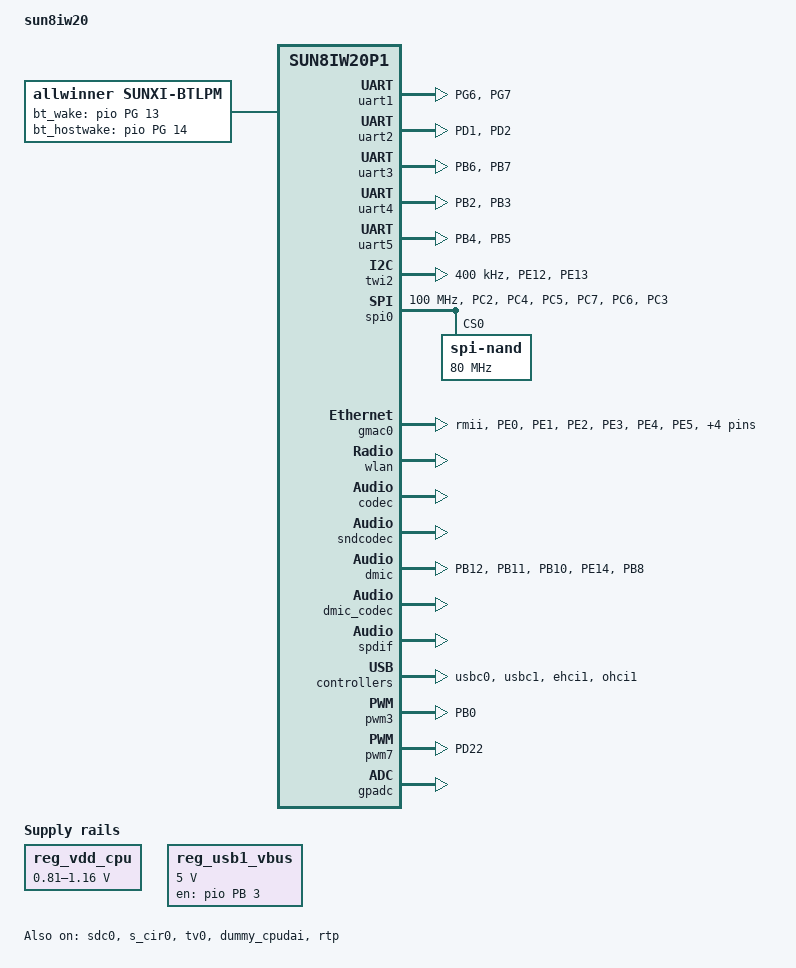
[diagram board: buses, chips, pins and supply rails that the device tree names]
/*
 * Allwinner Technology CO., Ltd.
 */

/dts-v1/;

 /* optee used 7MB: SHM 2M: OS: 1M: TA:4M*/
/memreserve/ 0x41900000 0x00100000;
/* DSP used 1MB */
/* /memreserve/ 0x42000000 0x00100000; */

#include "sun8iw20p1.dtsi"

/{
	model = "sun8iw20";
	compatible = "allwinner,r528", "arm,sun8iw20p1";

	reg_vdd_cpu: vdd-cpu {
		compatible = "sunxi-pwm-regulator";
		pwms = <&pwm 3 5000 0>;
		regulator-name = "vdd_cpu";
		regulator-min-microvolt = <810000>;
		regulator-max-microvolt = <1160000>;
		regulator-ramp-delay = <25>;
		regulator-always-on;
		regulator-boot-on;
		status = "okay";
	};

	reg_usb1_vbus: usb1-vbus {
		compatible = "regulator-fixed";
		regulator-name = "usb1-vbus";
		regulator-min-microvolt = <5000000>;
		regulator-max-microvolt = <5000000>;
		regulator-enable-ramp-delay = <1000>;
		gpio = <&pio PB 3 GPIO_ACTIVE_HIGH>;
		enable-active-high;
	};
};

&cpu0 {
	cpu-supply = <&reg_vdd_cpu>;
};

&pio {
	sdc0_pins_a: sdc0@0 {
		allwinner,pins = "PF0", "PF1", "PF2",
				 "PF3", "PF4", "PF5";
		allwinner,function = "sdc0";
		allwinner,muxsel = <2>;
		allwinner,drive = <3>;
		allwinner,pull = <1>;
		pins = "PF0", "PF1", "PF2",
		       "PF3", "PF4", "PF5";
		function = "sdc0";
		drive-strength = <30>;
		bias-pull-up;
		power-source = <3300>;
	};


	sdc0_pins_b: sdc0@1 {
		pins = "PF0", "PF1", "PF2",
		       "PF3", "PF4", "PF5";
		function = "sdc0";
		drive-strength = <30>;
		bias-pull-up;
		power-source = <1800>;
	};

	sdc0_pins_c: sdc0@2 {
		pins = "PF0", "PF1", "PF2",
			"PF3", "PF4", "PF5";
		function = "gpio_in";
	};

	/* TODO: add jtag pin */
	sdc0_pins_d: sdc0@3 {
		pins = "PF2", "PF4";
		function = "uart0";
		drive-strength = <10>;
		bias-pull-up;
	};

	sdc0_pins_e: sdc0@4 {
		pins = "PF0", "PF1", "PF3",
			"PF5";
		function = "jtag";
		drive-strength = <10>;
		bias-pull-up;
	};


	sdc1_pins_a: sdc1@0 {
		pins = "PG0", "PG1", "PG2",
		       "PG3", "PG4", "PG5";
		function = "sdc1";
		drive-strength = <30>;
		bias-pull-up;
	};

	sdc1_pins_b: sdc1@1 {
		pins = "PG0", "PG1", "PG2",
		       "PG3", "PG4", "PG5";
			function = "sdc1";
	};

	sdc2_pins_a: sdc2@0 {
		allwinner,pins = "PC2", "PC3", "PC4",
				 "PC5", "PC6", "PC7";
		allwinner,function = "sdc2";
		allwinner,muxsel = <3>;
		allwinner,drive = <3>;
		allwinner,pull = <1>;
		pins = "PC2", "PC3", "PC4",
			"PC5", "PC6", "PC7";
		function = "sdc2";
		drive-strength = <30>;
		bias-pull-up;
	};

	sdc2_pins_b: sdc2@1 {
		pins = "PC2", "PC3", "PC4",
		       "PC5", "PC6", "PC7";
		function = "gpio_in";
	};

	wlan_pins_a:wlan@0 {
		pins = "PG11";
		function = "clk_fanout1";
	};

	lvds0_pins_a: lvds0@0 {
		allwinner,pins  = "PD0", "PD1", "PD2", "PD3", "PD4", "PD5", "PD6", "PD7", "PD8", "PD9";
		allwinner,pname = "PD0", "PD1", "PD2", "PD3", "PD4", "PD5", "PD6", "PD7", "PD8", "PD9";
		allwinner,function = "lvds0";
		allwinner,muxsel = <3>;
		allwinner,drive = <3>;
		allwinner,pull = <0>;
	};

	lvds0_pins_b: lvds0@1 {
		allwinner,pins  = "PD0", "PD1", "PD2", "PD3", "PD4", "PD5", "PD6", "PD7", "PD8", "PD9";
		allwinner,pname = "PD0", "PD1", "PD2", "PD3", "PD4", "PD5", "PD6", "PD7", "PD8", "PD9";
		allwinner,function = "io_disabled";
		allwinner,muxsel = <7>;
		allwinner,drive = <3>;
		allwinner,pull = <0>;
	};

	uart0_pins_a: uart0_pins@0 {  /* For EVB1 board */
		pins = "PF2", "PF4";
		function = "uart0";
		drive-strength = <10>;
		bias-pull-up;
	};

	uart0_pins_b: uart0_pins@1 {  /* For EVB1 board */
		pins = "PF2", "PF4";
		function = "gpio_in";
	};
/*modify by wenyi for uart1*/
	uart1_pins_a: uart1_pins@0 {  /* For EVB1 board */
		pins = "PG6", "PG7";
		function = "uart1";
		drive-strength = <10>;
		bias-pull-up;
	};

	uart1_pins_b: uart1_pins {  /* For EVB1 board */
		pins = "PG6", "PG7";
		function = "gpio_in";
	};

        uart2_pins_a: uart2_pins@0 {  /* For EVB1 board */
                pins = "PD1", "PD2";
                function = "uart2";
                drive-strength = <10>;
                bias-pull-up;
        };

        uart2_pins_b: uart2_pins@1 {  /* For EVB1 board */
                pins = "PD1", "PD2";
                function = "gpio_in";
        };

	uart3_pins_a: uart3_pins@0 {  /* For t113_evb */
		//pins = "PG8", "PG9";
		pins = "PB6", "PB7";
		function = "uart3";
		drive-strength = <10>;
		bias-pull-up;
	};

	uart3_pins_b: uart3_pins@1 {  /* For t113_evb */
		pins = "PB6", "PB7";
		function = "gpio_in";
	};
/******add by wenyi for uart4 5 **********/
        uart4_pins_a: uart4_pins@0 {  /* For EVB1 board */
                pins = "PB2", "PB3";
                function = "uart4";
                drive-strength = <10>;
                bias-pull-up;
        };

        uart4_pins_b: uart4_pins@1 {  /* For EVB1 board */
                pins = "PB2", "PB3";
                function = "gpio_in";
        };


        uart5_pins_a: uart5_pins@0 {  /* For EVB1 board */
                pins = "PB4", "PB5";
                function = "uart5";
                drive-strength = <10>;
                bias-pull-up;
        };

        uart5_pins_b: uart5_pins@1 {  /* For EVB1 board */
                pins = "PB4", "PB5";
                function = "gpio_in";
        };
/******end add uart4 5 ************************/
	twi0_pins_a: twi0@0 {
		pins = "PB2", "PB3";
		function = "twi0";
		drive-strength = <10>;
	};

	twi0_pins_b: twi0@1 {
		pins = "PB2", "PB3";
		function = "gpio_in";
	};

	twi1_pins_a: twi1@0 {
		pins = "PE14", "PE15";
		function = "twi1";
		drive-strength = <10>;
	};

	twi1_pins_b: twi1@1 {
		pins = "PE14", "PE15";
		function = "gpio_in";
	};

	twi2_pins_a: twi2@0 {
		pins = "PE12", "PE13";
		function = "twi2";
		drive-strength = <10>;
	};

	twi2_pins_b: twi2@1 {
		pins = "PE12", "PE13";
		function = "gpio_in";
	};

	twi3_pins_a: twi3@0 {
		/* pins = "PE16", "PE17"; */
		/* pins = "PG10", "PG11"; */
		/*pins = "PB6", "PB7";*/
		function = "twi3";
		drive-strength = <10>;
	};

	twi3_pins_b: twi3@1 {
		/* pins = "PE16", "PE17"; */
		/* pins = "PG10", "PG11"; */
		/*pins = "PB6", "PB7";*/
		function = "gpio_in";
	};

	s_cir0_pins_a: s_cir0@0 {
		pins = "PB1";
		function = "ir";
		drive-strength = <10>;
		bias-pull-up;
	};

	s_cir0_pins_b: s_cir0@1 {
		pins = "PB1";
		function = "gpio_in";
	};

	ir1_pins_a: ir1@0 {
		pins = "PB0";
		function = "ir";
		drive-strength = <10>;
		bias-pull-up;
	};

	ir1_pins_b: ir1@1 {
		pins = "PB0";
		function = "gpio_in";
	};


	dmic_pins_a: dmic@0 {
		/* DMIC_PIN: CLK, DATA0, DATA1, DATA2, DATA3*/
		pins = "PB12", "PB11", "PB10", "PE14", "PB8";
		function = "dmic";
		drive-strength = <20>;
		bias-disable;
	};

	dmic_pins_b: dmic@1 {
		pins = "PB12", "PB11", "PB10", "PE14", "PB8";
		allwinner,function = "io_disabled";
		drive-strength = <20>;
		bias-disable;
	};

	daudio0_pins_a: daudio0@0 {
		pins = "PB29", "PB23", "PB24",
		       "PB25", "PB26", "PB27", "PB28",
		       "PB22";
		function = "i2s0";
		drive-strength = <20>;
		bias-disable;
	};

	daudio0_pins_b: daudio0_sleep@0 {
		pins = "PB29", "PB23", "PB24",
		       "PB25", "PB26", "PB27", "PB28",
		       "PB22";
		function = "io_disabled";
		drive-strength = <20>;
		bias-disable;
	};

	daudio1_pins_a: daudio1@0 {
		/* MCLK, LRCK, BCLK */
		pins = "PG12", "PG13";
		function = "i2s1";
		drive-strength = <20>;
		bias-disable;
	};

	daudio1_pins_b: daudio1@1 {
		/* DIN0 */
		pins = "PG14";
		function = "i2s1_din";
		drive-strength = <20>;
		bias-disable;
	};

	daudio1_pins_c: daudio1@2 {
		/* DOUT0 */
		pins = "PG15";
		function = "i2s1_dout";
		drive-strength = <20>;
		bias-disable;
	};

	daudio1_pins_d: daudio1_sleep@0 {
		pins = "PG12", "PG13", "PG14", "PG15";
		function = "io_disabled";
		drive-strength = <20>;
		bias-disable;
	};

	daudio2_pins_a: daudio2@0 {
		/* I2S_PIN: MCLK, BCLK, LRCK */
		pins = "PB7", "PB6", "PB5";
		function = "i2s2";
		drive-strength = <20>;
		bias-disable;
	};

	daudio2_pins_b: daudio2@1 {
		/* I2S_PIN: DIN0 */
		pins = "PB3";
		function = "i2s2_din";
		drive-strength = <20>;
		bias-disable;
	};

	daudio2_pins_c: daudio2@2 {
		/* I2S_PIN: DOUT0 */
		pins = "PB4";
		function = "i2s2_dout";
		drive-strength = <20>;
		bias-disable;
	};

	daudio2_pins_d: daudio2_sleep@0 {
		pins = "PB7", "PB6", "PB5", "PB4", "PB3";
		function = "io_disabled";
		drive-strength = <20>;
		bias-disable;
	};

	spdif_pins_a: spdif@0 {
		/* SPDIF_PIN: SPDIF_OUT */
		pins = "PG18";
		function = "spdif";
		drive-strength = <20>;
		bias-disable;
	};

	spdif_pins_b: spdif_sleep@0 {
		pins = "PG18";
		function = "io_disabled";
		drive-strength = <20>;
		bias-disable;
	};
	gmac0_pins_a: gmac@0 {
		allwinner,pins = "PE0", "PE1", "PE2", "PE3", "PE4",
				 "PE5", "PE6", "PE7","PE8", "PE9";
		allwinner,function = "gmac0";
		allwinner,muxsel = <8>;
		allwinner,drive = <1>;
		allwinner,pull = <0>;
	};

	gmac0_pins_b: gmac@1 {
		allwinner,pins = "PE0", "PE1", "PE2", "PE3", "PE4",
				 "PE5", "PE6", "PE7","PE8", "PE9";
		allwinner,function = "gpio_in";
		allwinner,muxsel = <0>;
		allwinner,drive = <1>;
		allwinner,pull = <0>;
	};

	spi0_pins_a: spi0@0 {
		pins = "PC2", "PC4", "PC5","PC7", "PC6"; /*clk mosi miso hold wp*/
		function = "spi0";
		drive-strength = <10>;
	};

	spi0_pins_b: spi0@1 {
		pins = "PC3";
		function = "spi0";
		drive-strength = <10>;
		bias-pull-up;   /* only CS should be pulled up */
	};

	spi0_pins_c: spi0@2 {
		pins = "PC2", "PC3", "PC4", "PC5","PC6", "PC7";
		function = "gpio_in";
		drive-strength = <10>;
	};

	spi1_pins_a: spi1@0 {
		pins = "PB11", "PB10", "PB9","PB8", "PB0"; /*clk mosi miso hold wp*/
		function = "spi1";
		drive-strength = <10>;
	};

	spi1_pins_b: spi1@1 {
		pins = "PB12";
		function = "spi1";
		drive-strength = <10>;
		bias-pull-up;   // only CS should be pulled up
	};

	spi1_pins_c: spi1@2 {
		allwinner,pins = "PB0", "PB8", "PB9", "PB10","PB11", "PB12";
		allwinner,function = "gpio_in";
		allwinner,muxsel = <0>;
		drive-strength = <10>;
	};

	pwm3_pin_a: pwm3@0 {
		pins = "PB0";
		function = "pwm3";
		drive-strength = <10>;
		bias-pull-up;
	};

	pwm3_pin_b: pwm3@1 {
		pins = "PB0";
		function = "gpio_in";
	};

	pwm7_pin_a: pwm7@0 {
		pins = "PD22";
		function = "pwm7";
		drive-strength = <10>;
		bias-pull-up;
	};

	pwm7_pin_b: pwm7@1 {
		pins = "PD22";
		function = "gpio_in";
	};

	ledc_pins_a: ledc@0 {
		pins = "PF2";
		function = "ledc";
		drive-strength = <10>;
	};

	ledc_pins_b: ledc@1 {
		pins = "PF2";
		function = "gpio_in";
	};
	rgb24_pins_a: rgb24@0 {
		allwinner,pins = "PB2", "PB3", "PD0", "PD1", "PD2", "PD3", "PD4", "PD5", \
			"PB4", "PB5", "PD6", "PD7", "PD8", "PD9", "PD10", "PD11", \
			"PB6", "PB7", "PD12", "PD13", "PD14", "PD15", "PD16", "PD17", \
			"PD18", "PD19", "PD20", "PD21";
		allwinner,pname = "lcdd0", "lcdd1", "lcdd2", "lcdd3", "lcdd4", "lcdd5", "lcdd6", "lcdd7", \
			"lcdd8", "lcdd9", "lcdd10", "lcdd11", "lcdd12", "lcdd13", "lcdd14", "lcdd15", \
			"lcdd16", "lcdd17", "lcdd18", "lcdd19", "lcdd20", "lcdd21", "lcdd22", "lcdd23", \
			"lcdclk", "lcdde", "lcdhsync", "lcdvsync";
		allwinner,function = "lcd0";
		allwinner,muxsel = <2>;
		allwinner,drive = <3>;
		allwinner,pull = <0>;
	};
	rgb24_pins_b: rgb24@1 {
		allwinner,pins = "PB2", "PB3", "PD0", "PD1", "PD2", "PD3", "PD4", "PD5", \
			"PB4", "PB5", "PD6", "PD7", "PD8", "PD9", "PD10", "PD11", \
			"PB6", "PB7", "PD12", "PD13", "PD14", "PD15", "PD16", "PD17", \
			"PD18", "PD19", "PD20", "PD21";
		allwinner,pname = "lcdd0", "lcdd1", "lcdd2", "lcdd3", "lcdd4", "lcdd5", "lcdd6", "lcdd7", \
			"lcdd8", "lcdd9", "lcdd10", "lcdd11", "lcdd12", "lcdd13", "lcdd14", "lcdd15", \
			"lcdd16", "lcdd17", "lcdd18", "lcdd19", "lcdd20", "lcdd21", "lcdd22", "lcdd23", \
			"lcdclk", "lcdde", "lcdhsync", "lcdvsync";
		allwinner,function = "io_disabled";
		allwinner,muxsel = <7>;
		allwinner,drive = <3>;
		allwinner,pull = <0>;
	};
	dsi4lane_pins_a: dsi4lane@0 {
        allwinner,pins = "PD0", "PD1", "PD2", "PD3", "PD4", "PD5", "PD6", "PD7", "PD8", "PD9";
        allwinner,pname = "PD0", "PD1", "PD2", "PD3", "PD4", "PD5", "PD6", "PD7", "PD8", "PD9";
        allwinner,function = "dsi4lane";
        allwinner,muxsel = <4>;
        allwinner,drive = <3>;
        allwinner,pull = <0>;
	};

	dsi4lane_pins_b: dsi4lane@1 {
        allwinner,pins = "PD0", "PD1", "PD2", "PD3", "PD4", "PD5", "PD6", "PD7", "PD8", "PD9";
        allwinner,pname = "PD0", "PD1", "PD2", "PD3", "PD4", "PD5", "PD6", "PD7", "PD8", "PD9";
        allwinner,function = "dsi4lane_suspend";
        allwinner,muxsel = <7>;
        allwinner,drive = <1>;
        allwinner,pull = <0>;
	};
};

&uart0 {
	pinctrl-names = "default", "sleep";
	pinctrl-0 = <&uart0_pins_a>;
	pinctrl-1 = <&uart0_pins_b>;
	status = "disabled";
};

&uart1 {
	pinctrl-names = "default", "sleep";
	pinctrl-0 = <&uart1_pins_a>;
	pinctrl-1 = <&uart1_pins_b>;
	status = "okay";	/* modify by wenyi 0820 */
};

&uart2 {
        pinctrl-names = "default", "sleep";
        pinctrl-0 = <&uart2_pins_a>;
        pinctrl-1 = <&uart2_pins_b>;
        status = "okay";
};

&uart3 {
	pinctrl-names = "default", "sleep";
	pinctrl-0 = <&uart3_pins_a>;
	pinctrl-1 = <&uart3_pins_b>;
	status = "okay";
};

&uart4 {
        pinctrl-names = "default", "sleep";
        pinctrl-0 = <&uart4_pins_a>;
        pinctrl-1 = <&uart4_pins_b>;
        status = "okay";
};

&uart5 {
        pinctrl-names = "default", "sleep";
        pinctrl-0 = <&uart5_pins_a>;
        pinctrl-1 = <&uart5_pins_b>;
        status = "okay";
};
&sdc2 {
	non-removable;
	bus-width = <4>;
	mmc-ddr-1_8v;
	mmc-hs200-1_8v;
	no-sdio;
	no-sd;
	ctl-spec-caps = <0x308>;
	cap-mmc-highspeed;
	sunxi-power-save-mode;
	sunxi-dis-signal-vol-sw;
	mmc-bootpart-noacc;
	max-frequency = <150000000>;
	/*vmmc-supply = <&reg_dcdc1>;*/
	/*emmc io vol 3.3v*/
	/*vqmmc-supply = <&reg_aldo1>;*/
	/*emmc io vol 1.8v*/
	/*vqmmc-supply = <&reg_eldo1>;*/
	status = "disabled";
};

&sdc0 {
	bus-width = <4>;
	cd-gpios = <&pio PF 6 (GPIO_ACTIVE_LOW | GPIO_PULL_UP)>;
	/*non-removable;*/
	/*broken-cd;*/
	/*cd-inverted*/
	/*data3-detect;*/
	/*card-pwr-gpios = <&pio PH 14 1 1 2 0xffffffff>;*/
	cd-used-24M;
	cap-sd-highspeed;
	/*sd-uhs-sdr50;*/
	/*sd-uhs-ddr50;*/
	/*sd-uhs-sdr104;*/
	no-sdio;
	no-mmc;
	sunxi-power-save-mode;
	/*sunxi-dis-signal-vol-sw;*/
	max-frequency = <150000000>;
	ctl-spec-caps = <0x8>;
	/*vmmc-supply = <&reg_dcdc1>;*/
	/*vqmmc33sw-supply = <&reg_dcdc1>;*/
	/*vdmmc33sw-supply = <&reg_dcdc1>;*/
	/*vqmmc18sw-supply = <&reg_eldo1>;*/
	/*vdmmc18sw-supply = <&reg_eldo1>;*/
	status = "okay";
};

&sdc1 {
	bus-width = <4>;
	no-mmc;
	no-sd;
	cap-sd-highspeed;
	/*sd-uhs-sdr12*/
	/*sd-uhs-sdr25;*/
	/*sd-uhs-sdr50;*/
	/*sd-uhs-ddr50;*/
	/*sd-uhs-sdr104;*/
	/*sunxi-power-save-mode;*/
	/*sunxi-dis-signal-vol-sw;*/
	cap-sdio-irq;
	keep-power-in-suspend;
	ignore-pm-notify;
	max-frequency = <150000000>;
	ctl-spec-caps = <0x8>;
	status = "disabled";	//modify by wenyi 0828 
};


&twi0 {
	clock-frequency = <400000>;
	pinctrl-0 = <&twi0_pins_a>;
	pinctrl-1 = <&twi0_pins_b>;
	pinctrl-names = "default", "sleep";
	twi_drv_used = <0>;
	dmas = <&dma 43>, <&dma 43>;
	dma-names = "tx", "rx";
	status = "disabled";
        ctp@14 {
                compatible = "allwinner,goodix";
                device_type = "ctp";
                reg = <0x14>;
                status = "disabled";
                ctp_name = "gt9xxnew_ts";
                ctp_twi_id = <0x2>;
                ctp_twi_addr = <0x14>;
                ctp_screen_max_x = <0x320>;
                ctp_screen_max_y = <0x1e0>;
                ctp_revert_x_flag = <0x0>;
                ctp_revert_y_flag = <0x0>;
                ctp_exchange_x_y_flag = <0x0>;
                ctp_int_port = <&pio PB 6 GPIO_ACTIVE_HIGH>;
                ctp_wakeup = <&pio PB 7 GPIO_ACTIVE_HIGH>;
                /*ctp-supply = <&reg_aldo2>;*/
                /*ctp_power_ldo = <&reg_aldo2>;*/
                /*ctp_power_ldo_vol = <3300>;*/
        };
};

&twi1 {
	clock-frequency = <400000>;
	pinctrl-0 = <&twi1_pins_a>;
	pinctrl-1 = <&twi1_pins_b>;
	pinctrl-names = "default", "sleep";
	status = "disabled";
};

&twi2 {
	clock-frequency = <400000>;
	pinctrl-0 = <&twi2_pins_a>;
	pinctrl-1 = <&twi2_pins_b>;
	pinctrl-names = "default", "sleep";
	/*twi_drv_used = <1>;*/
	/*dmas = <&dma 45>, <&dma 45>;*/
	/*dma-names = "tx", "rx";*/
	status = "okay";
};

&twi3 {
	clock-frequency = <400000>;
	pinctrl-0 = <&twi3_pins_a>;
	pinctrl-1 = <&twi3_pins_b>;
	pinctrl-names = "default", "sleep";
	status = "disabled";
#if 0
	ac108: ac108@3B {
		#sound-dai-cells = <0>;
		compatible = "Allwinner,MicArray_0";
		device_type = "MicArray_0";
		reg = <0x3B>;
		regulator_used = <0x0>;
		power_voltage = <3300000>;
		regulator_name = "vcc-3v3";
		power_gpio_used = <0x0>;
		reset_gpio_used = <0x0>;
		twi_bus = <0x1>;
		pga_gain = <0x1F>;
		slot_width = <0x20>;
		lrck_period = <0x80>;
		ref_pga_used = <0x1>;
		ref_pga_gain = <0x10>;
		ref_channel = <0x3>;
		debug_mode = <0x0>;
		status = "disabled";
	};
#endif
};

&spi0 {
        clock-frequency = <100000000>;
        pinctrl-0 = <&spi0_pins_a &spi0_pins_b>;
        pinctrl-1 = <&spi0_pins_c>;
        pinctrl-names = "default", "sleep";
        /*spi-supply = <&reg_dcdc1>;*/
        spi_slave_mode = <0>;
        spi0_cs_number = <1>;
        spi0_cs_bitmap = <1>;
        status = "okay";

        spi-nand@0 {
                compatible = "spi-nand";
                spi-max-frequency=<80000000>;
                reg = <0x0>;
                spi-rx-bus-width=<0x04>;
                spi-tx-bus-width=<0x04>;
                status="okay";
        };
};
&spi1 {
	clock-frequency = <100000000>;
	pinctrl-0 = <&spi1_pins_a &spi1_pins_b>;
	pinctrl-1 = <&spi1_pins_c>;
	pinctrl-names = "default", "sleep";
	spi_slave_mode = <0>;
	spi1_cs_number = <1>;
        spi1_cs_bitmap = <1>;
	status = "disabled";

	spi_board1@0 {
		device_type = "spi_board1";
		compatible = "rohm,dh2228fv";
		spi-max-frequency = <0x5f5e100>;
		reg = <0x0>;
		spi-rx-bus-width = <0x4>;
		spi-tx-bus-width = <0x4>;
		status = "disabled";
	};
};

&ledc {
	pinctrl-0 = <&ledc_pins_a>;
	pinctrl-1 = <&ledc_pins_b>;
	led_count = <32>;
	output_mode = "GRB";
	reset_ns = <84>;
	t1h_ns = <800>;
	t1l_ns = <450>;
	t0h_ns = <400>;
	t0l_ns = <850>;
	wait_time0_ns = <84>;
	wait_time1_ns = <84>;
	wait_data_time_ns = <600000>;
	status	= "disabled";
};

&s_cir0 {
	pinctrl-names = "default";
	pinctrl-0 = <&s_cir0_pins_a>;
	status = "okay";
};

&ir1 {
	pinctrl-names = "default";
	pinctrl-0 = <&ir1_pins_a>;
	status = "disabled";
};

&gmac0 {
	pinctrl-0 = <&gmac0_pins_a>;
	pinctrl-1 = <&gmac0_pins_b>;
	pinctrl-names = "default", "sleep";
	phy-mode = "rmii";
	use_ephy25m = <0>;
	tx-delay = <3>;
	rx-delay = <0>;
	phy-rst = <&pio PE 10 GPIO_ACTIVE_HIGH>;
	status = "okay";
};

&soc {
	platform@45000004 {
		reg = <0x0 0x45000004 0x0 0x0>;
		eraseflag   = <1>;
		next_work   = <3>;
		debug_mode  = <8>;
	};

	target@45000008 {
		reg = <0x0 0x45000008 0x0 0x0>;
		boot_clock = <1008>;	/*CPU boot frequency, Unit: MHz*/
		storage_type = <0xffffffff>; /*boot medium, 0-nand, 1-card0, 2-card2, -1(defualt)auto scan*/
		burn_key = <0>;		/*1:support burn key; 0:not support burn key*/
		dragonboard_test = <0>;	/*1:support card boot dragonboard; 0:not support card boot dragonboard*/
	};

	card0_boot_para@2 {
		/*
		 * Avoid dtc compiling warnings.
		 * @TODO: Developer should modify this to the actual value
		 */
		reg = <0x0 0x2 0x0 0x0>;
		device_type = "card0_boot_para";
		card_ctrl = <0x0>;
		card_high_speed = <0x1>;
		card_line = <0x4>;
		pinctrl-0 = <&sdc0_pins_a>;
	};

	card2_boot_para@3 {
		/*
		 * Avoid dtc compiling warnings.
		 * @TODO: Developer should modify this to the actual value
		 */
		reg = <0x0 0x3 0x0 0x0>;
		device_type = "card2_boot_para";
		card_ctrl = <0x2>;
		card_high_speed = <0x1>;
		card_line = <0x4>;
		pinctrl-0 = <&sdc2_pins_a>;
		/*pinctrl-0 = <&sdc0_pins_a>;*/
		/*sdc_ex_dly_used = <0x2>;*/
		sdc_io_1v8 = <0x1>;
		/*sdc_type = "tm4";*/
		sdc_tm4_hs200_max_freq = <150>;
		sdc_tm4_hs400_max_freq = <100>;
		sdc_ex_dly_used = <2>;
		/*sdc_tm4_win_th = <8>;*/
		/*sdc_dis_host_caps = <0x180>;*/
	};

	rfkill: rfkill@0 {
		compatible    = "allwinner,sunxi-rfkill";
		chip_en;
		power_en;
		pinctrl-0 = <&wlan_pins_a>;
		pinctrl-names = "default";
		status        = "okay";

		wlan: wlan@0 {
			compatible    = "allwinner,sunxi-wlan";
			clock-names = "32k-fanout1";
			clocks = <&ccu CLK_FANOUT1_OUT>;
			wlan_busnum    = <0x1>;
			wlan_regon    = <&pio PG 12 GPIO_ACTIVE_HIGH>;
			wlan_hostwake  = <&pio PG 10 GPIO_ACTIVE_HIGH>;
			/*wlan_power    = "VCC-3V3";*/
			/*wlan_power_vol = <3300000>;*/
			/*interrupt-parent = <&pio>;
			interrupts = < PG 10 IRQ_TYPE_LEVEL_HIGH>;*/
			wakeup-source;

		};

		bt: bt@0 {
			compatible    = "allwinner,sunxi-bt";
			pinctrl-0 = <&wlan_pins_a>;
			pinctrl-names = "default";
			clock-names = "32k-fanout1";
			clocks = <&ccu CLK_FANOUT1_OUT>;
			/*bt_power_num = <0x01>;*/
			/*bt_power      = "axp803-dldo1";*/
			/*bt_io_regulator = "axp803-dldo1";*/
			/*bt_io_vol = <3300000>;*/
			/*bt_power_vol = <330000>;*/
			bt_rst_n      = <&pio PG 15 GPIO_ACTIVE_LOW>;
			status        = "okay";
		};
	};

	btlpm: btlpm@0 {
		compatible  = "allwinner,sunxi-btlpm";
		uart_index  = <0x1>;
		bt_wake     = <&pio PG 13 GPIO_ACTIVE_HIGH>;
		bt_hostwake = <&pio PG 14 GPIO_ACTIVE_HIGH>;
		status      = "okay";
	};
};

&vind0 {
	csi_top = <378000000>;
	csi_isp = <327000000>;
	status = "disabled"; /* enable twi and ver1 spi-nand max freq 30M */

	actuator0: actuator@5809450 {
		device_type = "actuator0";
		actuator0_name = "ad5820_act";
		actuator0_slave = <0x18>;
		actuator0_af_pwdn = <>;
		actuator0_afvdd = "afvcc-csi";
		actuator0_afvdd_vol = <2800000>;
		status = "disabled";
	};
	flash0: flash@5809460 {
		device_type = "flash0";
		flash0_type = <2>;
		flash0_en = <>;
		flash0_mode = <>;
		flash0_flvdd = "";
		flash0_flvdd_vol = <>;
		device_id = <0>;
		status = "disabled";
	};
	sensor0: sensor@5809470 {
		reg = <0x0 0x05809470 0x0 0x10>;
		device_type = "sensor0";
		compatible = "allwinner,sunxi-sensor";
		sensor0_mname = "ov5640";
		sensor0_twi_cci_id = <2>;
		sensor0_twi_addr = <0x78>;
		sensor0_mclk_id = <0>;
		sensor0_pos = "rear";
		sensor0_isp_used = <0>;
		sensor0_fmt = <0>;
		sensor0_stby_mode = <0>;
		sensor0_vflip = <0>;
		sensor0_hflip = <0>;
		sensor0_iovdd-supply = <>;
		sensor0_iovdd_vol = <>;
		sensor0_avdd-supply = <>;
		sensor0_avdd_vol = <>;
		sensor0_dvdd-supply = <>;
		sensor0_dvdd_vol = <>;
		sensor0_power_en = <>;
		sensor0_reset = <&pio PE 9 GPIO_ACTIVE_LOW>;
		sensor0_pwdn = <&pio PE 8 GPIO_ACTIVE_LOW>;
		sensor0_sm_vs = <>;
		flash_handle = <&flash0>;
		act_handle = <&actuator0>;
		device_id = <0>;
		status  = "disabled";
	};
	sensor1:sensor@5809480 {
		device_type = "sensor1";
		sensor1_mname = "ov5647";
		sensor1_twi_cci_id = <3>;
		sensor1_twi_addr = <0x6c>;
		sensor1_mclk_id = <1>;
		sensor1_pos = "front";
		sensor1_isp_used = <0>;
		sensor1_fmt = <0>;
		sensor1_stby_mode = <0>;
		sensor1_vflip = <0>;
		sensor1_hflip = <0>;
		sensor1_iovdd-supply = <>;
		sensor1_iovdd_vol = <>;
		sensor1_avdd-supply = <>;
		sensor1_avdd_vol = <>;
		sensor1_dvdd-supply = <>;
		sensor1_dvdd_vol = <>;
		sensor1_power_en = <>;
		sensor1_reset = <&pio PE 7 GPIO_ACTIVE_LOW>;
		sensor1_pwdn = <&pio PE 6 GPIO_ACTIVE_LOW>;
		status	= "disabled";
	};
	vinc0:vinc@5809000 {
		vinc0_csi_sel = <0>;
		vinc0_mipi_sel = <0xff>;
		vinc0_isp_sel = <0>;
		vinc0_isp_tx_ch = <0>;
		vinc0_tdm_rx_sel = <0xff>;
		vinc0_rear_sensor_sel = <0>;
		vinc0_front_sensor_sel = <0>;
		vinc0_sensor_list = <0>;
		status = "disabled";
	};
	vinc1:vinc@5809200 {
		vinc1_csi_sel = <0>;
		vinc1_mipi_sel = <0xff>;
		vinc1_isp_sel = <0>;
		vinc1_isp_tx_ch = <1>;
		vinc1_tdm_rx_sel = <0xff>;
		vinc1_rear_sensor_sel = <0>;
		vinc1_front_sensor_sel = <0>;
		vinc1_sensor_list = <0>;
		status = "disabled";
	};
};

/*----------------------------------------------------------------------------------
disp init configuration

disp_mode             (0:screen0<screen0,fb0>)
screenx_output_type   (0:none; 1:lcd; 2:tv; 3:hdmi;5:vdpo)
screenx_output_mode   (used for hdmi output, 0:480i 1:576i 2:480p 3:576p 4:720p50)
                      (5:720p60 6:1080i50 7:1080i60 8:1080p24 9:1080p50 10:1080p60)
screenx_output_format (for hdmi, 0:RGB 1:yuv444 2:yuv422 3:yuv420)
screenx_output_bits   (for hdmi, 0:8bit 1:10bit 2:12bit 2:16bit)
screenx_output_eotf   (for hdmi, 0:reserve 4:SDR 16:HDR10 18:HLG)
screenx_output_cs     (for hdmi, 0:undefined  257:BT709 260:BT601  263:BT2020)
screenx_output_dvi_hdmi (for hdmi, 0:undefined 1:dvi mode 2:hdmi mode)
screen0_output_range   (for hdmi, 0:default 1:full 2:limited)
screen0_output_scan    (for hdmi, 0:no data 1:overscan 2:underscan)
screen0_output_aspect_ratio  (for hdmi, 8-same as original picture 9-4:3 10-16:9 11-14:9)
fbx format            (4:RGB655 5:RGB565 6:RGB556 7:ARGB1555 8:RGBA5551 9:RGB888 10:ARGB8888 12:ARGB4444)
fbx pixel sequence    (0:ARGB 1:BGRA 2:ABGR 3:RGBA)
fb0_scaler_mode_enable(scaler mode enable, used FE)
fbx_width,fbx_height  (framebuffer horizontal/vertical pixels, fix to output resolution while equal 0)
lcdx_backlight        (lcd init backlight,the range:[0,256],default:197
lcdx_yy               (lcd init screen bright/contrast/saturation/hue, value:0~100, default:50/50/57/50)
lcd0_contrast         (LCD contrast, 0~100)
lcd0_saturation       (LCD saturation, 0~100)
lcd0_hue              (LCD hue, 0~100)
framebuffer software rotation setting:
disp_rotation_used:   (0:disable; 1:enable,you must set fbX_width to lcd_y,
set fbX_height to lcd_x)
degreeX:              (X:screen index; 0:0 degree; 1:90 degree; 3:270 degree)
degreeX_Y:            (X:screen index; Y:layer index 0~15; 0:0 degree; 1:90 degree; 3:270 degree)
devX_output_type : config output type in bootGUI framework in UBOOT-2018.
				   (0:none; 1:lcd; 2:tv; 4:hdmi;)
devX_output_mode : config output resolution(see include/video/sunxi_display2.h) of bootGUI framework in UBOOT-2018
devX_screen_id   : config display index of bootGUI framework in UBOOT-2018
devX_do_hpd      : whether do hpd detectation or not in UBOOT-2018
chn_cfg_mode     : Hardware DE channel allocation config. 0:single display with 6
				   channel, 1:dual display with 4 channel in main display and 2 channel in second
                   display, 2:dual display with 3 channel in main display and 3 channel in second
                   in display.
----------------------------------------------------------------------------------*/
&disp {
	disp_init_enable         = <1>;
	disp_mode                = <0>;

	screen0_output_type      = <1>;
	screen0_output_mode      = <4>;

	screen1_output_type      = <3>;
	screen1_output_mode      = <10>;

	screen1_output_format    = <0>;
	screen1_output_bits      = <0>;
	screen1_output_eotf      = <4>;
	screen1_output_cs        = <257>;
	screen1_output_dvi_hdmi  = <2>;
	screen1_output_range     = <2>;
	screen1_output_scan      = <0>;
	screen1_output_aspect_ratio = <8>;

	dev0_output_type         = <1>;
	dev0_output_mode         = <4>;
	dev0_screen_id           = <0>;
	dev0_do_hpd              = <0>;

	dev1_output_type         = <4>;
	dev1_output_mode         = <10>;
	dev1_screen_id           = <1>;
	dev1_do_hpd              = <1>;

	def_output_dev           = <0>;
	hdmi_mode_check          = <1>;

	fb0_format               = <0>;
	fb0_width                = <0>;
	fb0_height               = <0>;

	fb1_format               = <0>;
	fb1_width                = <0>;
	fb1_height               = <0>;
	chn_cfg_mode             = <1>;

	disp_para_zone           = <1>;
	/*VCC-LCD*/
/*	dc1sw-supply = <&reg_dc1sw>;*/
	/*VCC-DSI*/
/*	eldo3-supply = <&reg_eldo3>;*/
	/*VCC-PD*/
/*	dcdc1-supply = <&reg_dcdc1>;*/
};


#if 0
&disp {
	disp_init_enable         = <1>;
	disp_mode                = <0>;

	screen0_output_type      = <1>;
	screen0_output_mode      = <4>;

	screen1_output_type      = <1>;
	screen1_output_mode      = <4>;

	screen1_output_format    = <0>;
	screen1_output_bits      = <0>;
	screen1_output_eotf      = <4>;
	screen1_output_cs        = <257>;
	screen1_output_dvi_hdmi  = <2>;
	screen1_output_range     = <2>;
	screen1_output_scan      = <0>;
	screen1_output_aspect_ratio = <8>;

	dev0_output_type         = <1>;
	dev0_output_mode         = <4>;
	dev0_screen_id           = <0>;
	dev0_do_hpd              = <0>;

	dev1_output_type         = <4>;
	dev1_output_mode         = <10>;
	dev1_screen_id           = <1>;
	dev1_do_hpd              = <1>;

	def_output_dev           = <0>;
	hdmi_mode_check          = <1>;

	fb0_format               = <0>;
	fb0_width                = <1024>;
	fb0_height               = <600>;

	fb1_format               = <0>;
	fb1_width                = <0>;
	fb1_height               = <0>;
	chn_cfg_mode             = <1>;

	disp_para_zone           = <1>;
	/*VCC-LCD*/
	/*dc1sw-supply = <&reg_dc1sw>;*/
	/*VCC-DSI*/
/*	eldo3-supply = <&reg_eldo3>;*/
	/*VCC-PD*/
/*	dcdc1-supply = <&reg_dcdc1>;*/
};
#endif

/*----------------------------------------------------------------------------------
;tv configuration
;interface          (interface type,1<->cvbs,2<->YPBPR,4<->SVIDEO)
;dac_type           (0<->composite,1<->luma,2<->chroma,3<->reserved,4<->y/green,
;                    5<->u/pb/blue,6<->v/pr/red)
;dac_src            (dac no,support dac_src0~dac_src3,dac num max is 4)
;NOTE:              tv0,tv1 can not use the same dac_src.
;---------------------------------------------------------------------------------*/
&tv0 {
	interface       = <1>;
	dac_type0       = <0>;
	dac_src0        = <0>;

	status =  "okay";
};

/*----------------------------------------------------------------------------------
;lcd0 configuration

;lcd_if:               0:hv(sync+de); 1:8080; 2:ttl; 3:lvds; 4:dsi; 5:edp; 6:extend dsi
;lcd_hv_if             0:Parallel RGB; 8:Serial RGB; 10:Dummy RGB; 11: RGB Dummy;12:CCIR656
;lcd_hv_clk_phase      0:0 degree;1:90 degree;2:180 degree;3:270 degree
;lcd_hv_sync_polarity  0:vs low,hs low; 1:vs high,hslow; 2:vs low,hs high; 3:vs high,hs high
;lcd_hv_syuv_seq       0:YUYV; 1:YVYU; 2:UYVY; 3:VYUY
;lcd_cpu_if            0:18bit/1 cycle parallel(RGB666); 4:16bit/1cycle parallel (RGB565)
;                      6:18bit/3 cycle parallel(RGB666); 7:16bit/2cycle parallel (RGB565)
;lcd_cpu_te            0:frame auto trigger; 1:frame triggered by te rising edge; 2:frame triggered by te falling edge;
;lcd_dsi_if            0:video mode; 1: Command mode; 2:video burst mode
;lcd_dsi_te            0:frame auto trigger; 1:frame triggered by te rising edge; 2:frame triggered by te falling edge;
;lcd_x:                lcd horizontal resolution
;lcd_y:                lcd vertical resolution
;lcd_width:            width of lcd in mm
;lcd_height:           height of lcd in mm
;lcd_dclk_freq:        in MHZ unit
;lcd_pwm_freq:         in HZ unit
;lcd_pwm_pol:          lcd backlight PWM polarity
;lcd_pwm_max_limit     lcd backlight PWM max limit(<=255)
;lcd_hbp:              hsync back porch(pixel) + hsync plus width(pixel);
;lcd_ht:               hsync total cycle(pixel)
;lcd_vbp:              vsync back porch(line) + vysnc plus width(line)
;lcd_vt:               vysnc total cycle(line)
;lcd_hspw:             hsync plus width(pixel)
;lcd_vspw:             vysnc plus width(pixel)
;lcd_lvds_if:          0:single link;  1:dual link
;lcd_lvds_colordepth:  0:8bit; 1:6bit
;lcd_lvds_mode:        0:NS mode; 1:JEIDA mode
;lcd_frm:              0:disable; 1:enable rgb666 dither; 2:enable rgb656 dither
;lcd_io_phase:         0:noraml; 1:intert phase(0~3bit: vsync phase; 4~7bit:hsync phase;
;                      8~11bit:dclk phase; 12~15bit:de phase)
;lcd_gamma_en          lcd gamma correction enable
;lcd_bright_curve_en   lcd bright curve correction enable
;lcd_cmap_en           lcd color map function enable
;deu_mode              0:smoll lcd screen; 1:large lcd screen(larger than 10inch)
;lcdgamma4iep:         Smart Backlight parameter, lcd gamma vale * 10;
;                      decrease it while lcd is not bright enough; increase while lcd is too bright
;smart_color           90:normal lcd screen 65:retina lcd screen(9.7inch)
;Pin setting for special function ie.LVDS, RGB data or vsync
;   name(donot care) = port:PD12<pin function><pull up or pull down><drive ability><output level>
;Pin setting for gpio:
;   lcd_gpio_X     = port:PD12<pin function><pull up or pull down><drive ability><output level>
;Pin setting for backlight enable pin
;   lcd_bl_en     = port:PD12<pin function><pull up or pull down><drive ability><output level>
;fsync setting, pulse to csi
;lcd_fsync_en          (0:disable fsync,1:enable)
;lcd_fsync_act_time    (active time of fsync, unit:pixel)
;lcd_fsync_dis_time    (disactive time of fsync, unit:pixel)
;lcd_fsync_pol         (0:positive;1:negative)
;gpio config: <&pio for cpu or &r_pio for cpus, port, port num, pio function,
pull up or pull down(default 0), driver level(default 1), data>
;For dual link lvds: use lvds2link_pins_a  and lvds2link_pins_b instead
;For rgb24: use rgb24_pins_a  and rgb24_pins_b instead
;For lvds1: use lvds1_pins_a  and lvds1_pins_b instead
;For lvds0: use lvds0_pins_a  and lvds0_pins_b instead
;----------------------------------------------------------------------------------*/
/*
&lcd0 {
	lcd_used            = <1>;

	lcd_driver_name     = "default_lcd";
	lcd_backlight       = <50>;
	lcd_if              = <3>;

	lcd_x               = <1024>;
	lcd_y               = <600>;
	lcd_width           = <150>;
	lcd_height          = <94>;
	lcd_dclk_freq       = <52>;

	lcd_pwm_used        = <1>;
	lcd_pwm_ch          = <7>;
	lcd_pwm_freq        = <50000>;
	lcd_pwm_pol         = <1>;
	lcd_pwm_max_limit   = <255>;

	lcd_hbp             = <160>;
	lcd_ht              = <1344>;
	lcd_hspw            = <60>;
	lcd_vbp             = <23>;
	lcd_vt              = <638>;
	lcd_vspw            = <10>;

	lcd_lvds_if         = <0>;
	lcd_lvds_colordepth = <0>;
	lcd_lvds_mode       = <0>;
	lcd_frm             = <1>;
	lcd_hv_clk_phase    = <0>;
	lcd_hv_sync_polarity= <0>;
	lcd_gamma_en        = <0>;
	lcd_bright_curve_en = <0>;
	lcd_cmap_en         = <0>;

	deu_mode            = <0>;
	lcdgamma4iep        = <22>;
	smart_color         = <90>;

	pinctrl-0 = <&lvds0_pins_a>;
	pinctrl-1 = <&lvds0_pins_b>;
};
*/
/*
&lcd0 {
	lcd_used            = <1>;

	lcd_driver_name     = "he0801a068";
	lcd_backlight       = <50>;
	lcd_if              = <4>;

	lcd_x               = <800>;
	lcd_y               = <1280>;
	lcd_width           = <800>;
	lcd_height          = <1280>;
	lcd_dclk_freq       = <78>;

	lcd_pwm_used        = <1>;
	lcd_pwm_ch          = <7>;
	lcd_pwm_freq        = <50000>;
	lcd_pwm_pol         = <1>;
	lcd_pwm_max_limit   = <255>;

	lcd_hbp             = <149>;
	lcd_ht              = <978>;
	lcd_hspw            = <16>;
	lcd_vbp             = <7>;
	lcd_vt              = <1329>;
	lcd_vspw            = <5>;

	lcd_dsi_lane        = <4>;
	lcd_dsi_if          = <0>;
	lcd_dsi_format      = <0>;
	lcd_dsi_te          = <0>;
	lcd_frm             = <0>;
	lcd_io_phase        = <0>;
	lcd_gamma_en        = <0>;
	lcd_bright_curve_en = <0>;
	lcd_cmap_en         = <0>;

	deu_mode            = <0>;
	lcdgamma4iep        = <22>;
	smart_color         = <90>;

	lcd_gpio_0 = <&pio PG 13 GPIO_ACTIVE_HIGH>;
	pinctrl-0 = <&dsi4lane_pins_a>;
	pinctrl-1 = <&dsi4lane_pins_b>;
};*/

&lcd0 {
		/* part 1 */
        lcd_used            = <1>;
        lcd_driver_name     = "default_lcd";
	lcd_backlight	    = <100>;

	/* part 2 */
	lcd_if = <0>;
	lcd_hv_if = <0>;
	
	/* part 3 */
        lcd_x               = <1024>;
        lcd_y               = <600>;
        lcd_width           = <154>;
        lcd_height          = <85>;
        lcd_dclk_freq       = <51>;
        lcd_hbp             = <140>;
        lcd_ht              = <1344>;
        lcd_hspw            = <20>;
        lcd_vbp             = <20>;
        lcd_vt              = <635>;
        lcd_vspw            = <3>;
		
	lcd_pwm_used        = <1>;
	lcd_pwm_ch          = <7>;
	lcd_pwm_freq        = <500>;
	lcd_pwm_pol         = <1>;

	/* part 5 */
	lcd_frm = <1>;
	lcd_io_phase = <0x0000>;
	lcd_gamma_en = <0>;
	lcd_cmap_en = <0>;
	lcd_hv_clk_phase = <0>;
	lcd_hv_sync_polarity= <0>;
				
	/* part 6 */
	lcd_power = "vcc-lcd";
	lcd_pin_power = "vcc-pd";
	pinctrl-0 = <&rgb18_pins_a>;
	pinctrl-1 = <&rgb18_pins_b>;
};



/*
tvd configuration
used                   (create device, 0: do not create device, 1: create device)
agc_auto_enable        (0: agc manual mode,agc_manual_value is valid; 1: agc auto mode)
agc_manual_value       (agc manual value, default value is 64)
cagc_enable            (cagc        0: disable, 1: enable)
fliter_used            (3d fliter   0: disable, 1: enable)
support two PMU power  (tvd_power0, tvd_power1)
support two GPIO power (tvd_gpio0, tvd_gpio1)
NOTICE: If tvd need pmu power or gpio power,params need be configured under [tvd]
tvd_sw                 (the switch of all tvd driver.)
tvd_interface          (0: cvbs, 1: ypbpr,)
tvd_format             (0:TVD_PL_YUV420 , 1: MB_YUV420, 2: TVD_PL_YUV422)
tvd_system             (0:ntsc, 1:pal)
tvd_row                (total row number in multi channel mode 1-2)
tvd_column             (total column number in multi channel mode 1-2)
tvd_channelx_en        (0:disable, 1~4:position in multi channel mode,In single channel
                       mode,mean enable)
tvd_row*tvd_column is the total tvd channel number to be used in multichannel mode
+--------------------+--------------------+
|                    |                    |
|                    |                    |
|         1          |         2          |
|                    |                    |
|                    |                    |
+--------------------+--------------------+
|                    |                    |
|                    |                    |
|         3          |         4          |
|                    |                    |
|                    |                    |
+--------------------+--------------------+
*/

&tvd {
	tvd_sw          = <1>;
	tvd_interface   = <0>;
	tvd_format      = <0>;
	tvd_system      = <1>;
	tvd_row         = <1>;
	tvd_column      = <1>;
	tvd_channel0_en = <1>;
	tvd_channel1_en = <0>;
	tvd_channel2_en = <0>;
	tvd_channel3_en = <0>;
	/*tvd_gpio0 = <&pio PD 22 GPIO_ACTIVE_HIGH>;*/
	/*tvd_gpio1 = <&pio PD 23 GPIO_ACTIVE_HIGH>;*/
	/*tvd_gpio2 = <&pio PD 24 GPIO_ACTIVE_HIGH>;*/
	/*dc1sw-supply = <&reg_dc1sw>;*/
	/*	eldo3-supply = <&reg_eldo3>;*/
	/*tvd_power0      = "dc1sw"*/
	/*tvd_power1      = "eldo3"*/
};

&tvd0 {
	used                    = <1>;
	agc_auto_enable         = <1>;
	agc_manual_value        = <64>;
	cagc_enable             = <1>;
	fliter_used             = <1>;
};

&hdmi {
	hdmi_used = <1>;
	hdmi_power_cnt = <0>;
	hdmi_hdcp_enable = <1>;
	hdmi_hdcp22_enable = <0>;
	hdmi_cec_support = <1>;
	hdmi_cec_super_standby = <0>;

	ddc_en_io_ctrl = <0>;
	power_io_ctrl = <0>;
};

/* Audio Driver modules */
&codec {
	/* MIC and headphone gain setting */
	mic1gain 		= <0x1F>;
	mic2gain 		= <0x1F>;
	mic3gain 		= <0x1F>;
	/* ADC/DAC DRC/HPF func enabled */
	/* 0x1:DAP_HP_EN; 0x2:DAP_SPK_EN; 0x3:DAP_HPSPK_EN */
	adcdrc_cfg		= <0x0>;
	adchpf_cfg		= <0x1>;
	dacdrc_cfg		= <0x0>;
	dachpf_cfg		= <0x0>;
	/* Volume about */
	digital_vol 	= <0x00>;
	lineout_vol 	= <0x1a>;
	headphonegain	= <0x03>;
	/* Pa enabled about */
	pa_level 		= <0x01>;
	pa_pwr_level 	= <0x01>;
	pa_msleep_time 	= <0x78>;
	/* gpio-spk	= <&pio PE 11 GPIO_ACTIVE_LOW>; */
	/* CMA config about */
	playback_cma	= <128>;
	capture_cma	= <256>;
	/* regulator about */
	/* avcc-supply	= <&reg_aldo1>; */
	/* hpvcc-supply	= <&reg_eldo1>; */
	status = "okay";
};

&sndcodec {
	hp_detect_case	= <0x00>;
	jack_enable		= <0x01>;
	status = "okay";
};

&dummy_cpudai {
	playback_cma	= <128>;
	capture_cma		= <256>;
	status			= "okay";
};

&dmic {
	pinctrl-names   = "default","sleep";
	pinctrl-0       = <&dmic_pins_a>;
	pinctrl-1       = <&dmic_pins_b>;
	status = "okay";
};

&dmic_codec {
	status = "okay";
};

&sounddmic {
	status = "okay";
};

/*-----------------------------------------------------------------------------
 * pcm_lrck_period	16/32/64/128/256
 *			(set 0x20 for HDMI audio out)
 * slot_width_select	16bits/20bits/24bits/32bits
 *			(set 0x20 for HDMI audio out)
 * frametype		0 --> short frame = 1 clock width;
 *			1 --> long frame = 2 clock width;
 * tdm_config		0 --> pcm
 *			1 --> i2s
 *			(set 0x01 for HDMI audio out)
 * mclk_div		0 --> not output
 *			1/2/4/6/8/12/16/24/32/48/64/96/128/176/192
 *			(set mclk as external codec clk source, freq is pll_audio/mclk_div)
 * pinctrl_used		0 --> I2S/PCM use for internal (e.g. HDMI)
 *			1 --> I2S/PCM use for external audio
 * daudio_type:		0 --> external audio type
 *			1 --> HDMI audio type
 *---------------------------------------------------------------------------*/
&daudio0 {
	mclk_div 	= <0x01>;
	frametype 	= <0x00>;
	tdm_config 	= <0x01>;
	sign_extend 	= <0x00>;
	msb_lsb_first 	= <0x00>;
	pcm_lrck_period = <0x80>;
	slot_width_select = <0x20>;
	pinctrl-names   = "default", "sleep";
	pinctrl-0       = <&daudio0_pins_a>;
	pinctrl-1       = <&daudio0_pins_b>;
	pinctrl_used	= <0x0>;
	status = "disabled";
};

&sounddaudio0 {
	status = "disabled";
	daudio0_master: simple-audio-card,codec {
		/* sound-dai = <&ac108>; */
	};
};

/*-----------------------------------------------------------------------------
 * simple-audio-card,name	name of sound card, e.g.
 *				"snddaudio0" --> use for external audio
 *				"sndhdmi" --> use for HDMI audio
 * sound-dai			"snd-soc-dummy" --> use for I2S
 *				"hdmiaudio" --> use for HDMI audio
 *				"ac108" --> use for external audio of ac108
 *---------------------------------------------------------------------------*/
&daudio1 {
	mclk_div 	= <0x01>;
	frametype 	= <0x00>;
	tdm_config 	= <0x01>;
	sign_extend 	= <0x00>;
	msb_lsb_first 	= <0x00>;
	pcm_lrck_period = <0x80>;
	slot_width_select = <0x20>;
	pinctrl-names   = "default", "sleep";
	pinctrl-0       = <&daudio1_pins_a &daudio1_pins_b &daudio1_pins_c>;
	pinctrl-1       = <&daudio1_pins_d>;
	pinctrl_used	= <0x1>;
	status = "disabled";
};

&sounddaudio1 {
	status = "disabled";
	daudio1_master: simple-audio-card,codec {
		/* sound-dai = <&ac108>; */
	};
};

&daudio2 {
	mclk_div 	= <0x01>;
	frametype 	= <0x00>;
	tdm_config 	= <0x01>;
	sign_extend 	= <0x00>;
	msb_lsb_first 	= <0x00>;
	pcm_lrck_period = <0x80>;
	slot_width_select = <0x20>;
	pinctrl-names   = "default", "sleep";
	pinctrl-0       = <&daudio2_pins_a &daudio2_pins_b &daudio2_pins_c>;
	pinctrl-1       = <&daudio2_pins_d>;
	pinctrl_used	= <0x1>;
	status = "disabled";
};

/* if HDMI audio is used, daudio2 should be enable. */
&hdmiaudio {
	status = "disabled";
};

&sounddaudio2 {
	status = "disabled";
	daudio2_master: simple-audio-card,codec {
		/* sound-dai = <&ac108>; */
	};
};

&spdif {
	status = "okay";
};

&soundspdif {
	status = "okay";
};

/*
 *usb_port_type: usb mode. 0-device, 1-host, 2-otg.
 *usb_detect_type: usb hotplug detect mode. 0-none, 1-vbus/id detect, 2-id/dpdm detect.
 *usb_detect_mode: 0-thread scan, 1-id gpio interrupt.
 *usb_id_gpio: gpio for id detect.
 *usb_det_vbus_gpio: gpio for id detect. gpio or "axp_ctrl";
 *usb_wakeup_suspend：0-SUPER_STANDBY, 1-USB_STANDBY.
 */
&usbc0 {
	device_type = "usbc0";
	usb_port_type = <0x2>;
	usb_detect_type = <0x1>;
	usb_detect_mode = <0>;
	usb_id_gpio = <&pio PB 6 GPIO_ACTIVE_HIGH>;
	enable-active-high;
	usb_det_vbus_gpio = <&pio PB 2 GPIO_ACTIVE_HIGH>;
	usb_wakeup_suspend = <0>;
	usb_serial_unique = <0>;
	usb_serial_number = "20080411";
	rndis_wceis = <1>;
	status = "okay";
};

&ehci0 {
	drvvbus-supply = <&reg_usb1_vbus>;
};

&ohci0 {
	drvvbus-supply = <&reg_usb1_vbus>;
};

&usbc1 {
	device_type = "usbc1";
	usb_port_type = <0x01>;
	sb_detect_type = <0x1>;
	usb_regulator_io = "nocare";
	usb_wakeup_suspend = <0>;
	status = "okay";
};
&ehci1 {
	drvvbus-supply = <&reg_usb1_vbus>;
	status = "okay";
};

&ohci1 {
	drvvbus-supply = <&reg_usb1_vbus>;
	status = "okay";
};

&pwm3 {
	pinctrl-names = "active", "sleep";
	pinctrl-0 = <&pwm3_pin_a>;
	pinctrl-1 = <&pwm3_pin_b>;
	status = "okay";
};

&pwm7 {
	pinctrl-names = "active", "sleep";
	pinctrl-0 = <&pwm7_pin_a>;
	pinctrl-1 = <&pwm7_pin_b>;
	status = "okay";	//modify by wenyi 0827
};

&gpadc {
	channel_num = <1>;
	channel_select = <0x1>;
	channel_data_select = <0>;
	channel_compare_select = <0x1>;
	channel_cld_select = <0x1>;
	channel_chd_select = <0>;
	channel0_compare_lowdata = <1700000>;
	channel0_compare_higdata = <1200000>;
	channel1_compare_lowdata = <460000>;
	channel1_compare_higdata = <1200000>;
	key_cnt = <5>;
	key0_vol = <210>;
	key0_val = <115>;
	key1_vol = <410>;
	key1_val = <114>;
	key2_vol = <590>;
	key2_val = <119>;
	key3_vol = <750>;
	key3_val = <373>;
	key4_vol = <880>;
	key4_val = <28>;
	status = "okay";
};

&rtp {
	allwinner,tp-sensitive-adjust = <0xf>;
	allwinner,filter-type = <0x1>;
	allwinner,ts-attached;
	status = "okay";
};



